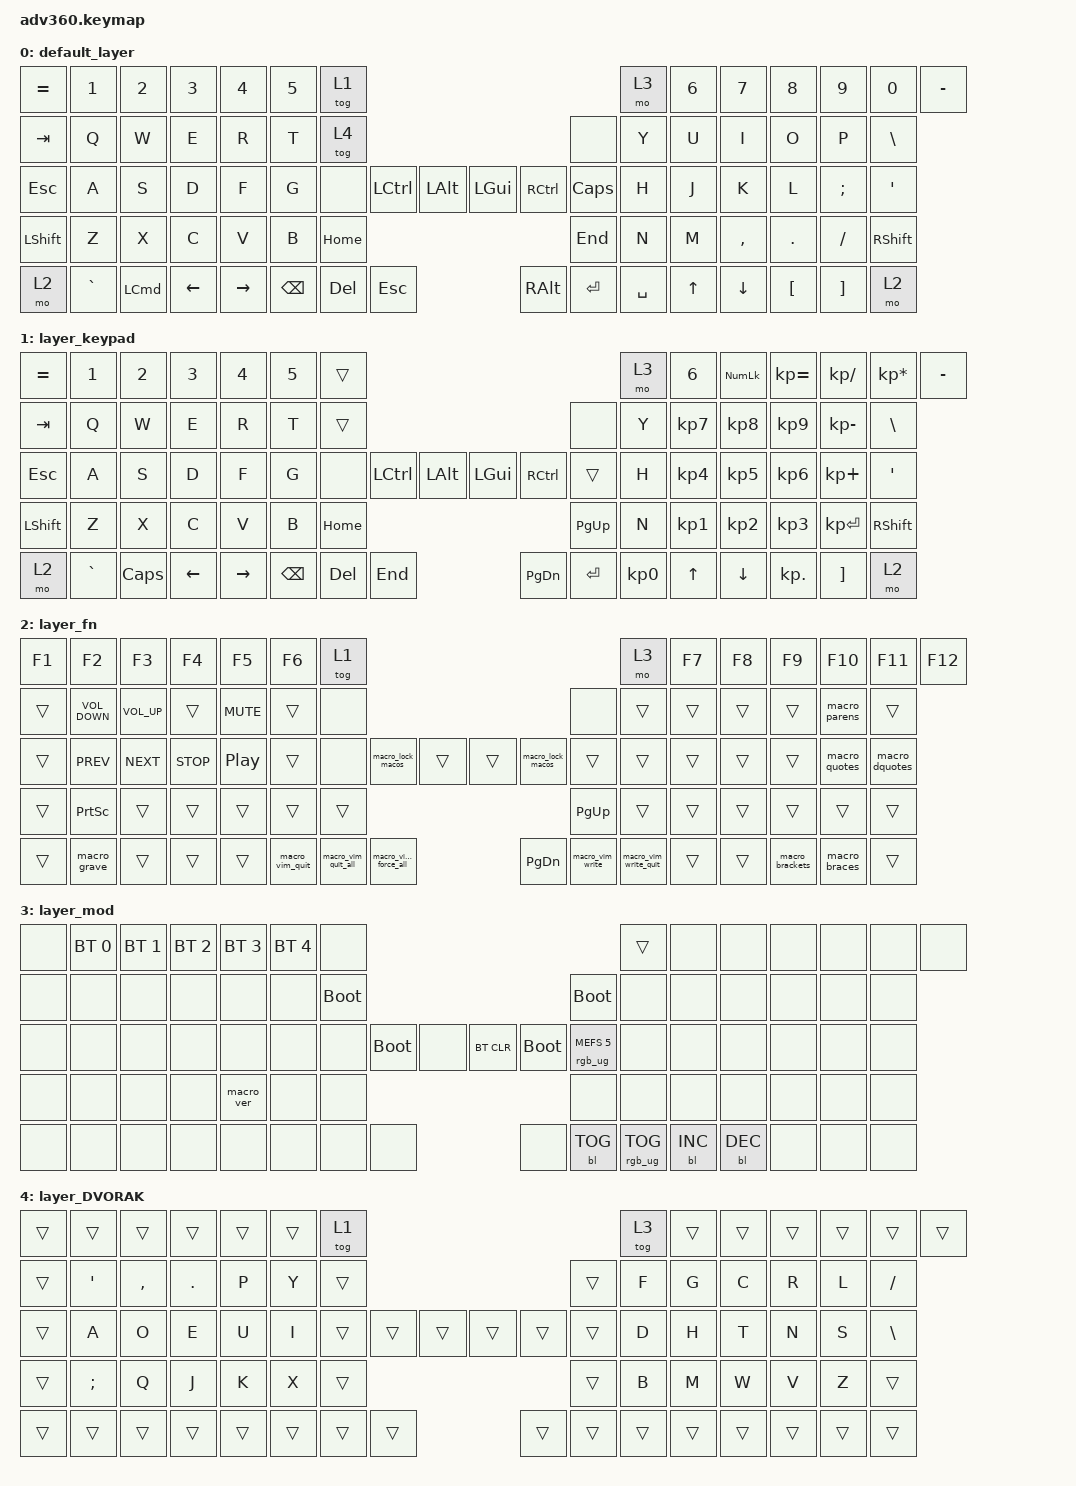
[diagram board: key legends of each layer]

/*
 * Copyright (c) 2020 The ZMK Contributors
 *
 * SPDX-License-Identifier: MIT
 */


/* THIS FILE WAS GENERATED!
 *
 * This file was generated automatically. You may or may not want to
 * edit it directly.
 */

#include <behaviors.dtsi>
#include <dt-bindings/zmk/keys.h>
#include <dt-bindings/zmk/bt.h>
#include <dt-bindings/zmk/rgb.h>
#include <dt-bindings/zmk/backlight.h>

/ {
  behaviors {
    #include "macros.dtsi"
    #include "version.dtsi"

    hm: homerow_mods {
        compatible = "zmk,behavior-hold-tap";
        label = "HOMEROW_MODS";
        #binding-cells = <2>;
        tapping-term-ms = <200>;
        quick_tap_ms = <175>;
        flavor = "tap-preferred";
        bindings = <&kp>, <&kp>;
    };
  };

    keymap {
        compatible = "zmk,keymap";


        default_layer {
            bindings = <
 &kp EQUAL     &kp N1            &kp N2    &kp N3     &kp N4  &kp N5              &tog 1                                                                        &mo 3  &kp N6  &kp N7     &kp N8    &kp N9    &kp N0  &kp MINUS
   &kp TAB      &kp Q             &kp W     &kp E      &kp R   &kp T              &tog 4                                                                        &none   &kp Y   &kp U      &kp I     &kp O     &kp P   &kp BSLH
   &kp ESC      &kp A             &kp S     &kp D      &kp F   &kp G               &none  &kp LCTRL  &kp LALT                       &kp LGUI  &kp RCTRL  &kp CAPSLOCK   &kp H   &kp J      &kp K     &kp L  &kp SEMI    &kp SQT
 &kp LSHFT      &kp Z             &kp X     &kp C      &kp V   &kp B                                 &kp HOME                        &kp END                            &kp N   &kp M  &kp COMMA   &kp DOT  &kp FSLH  &kp RSHFT
     &mo 2  &kp GRAVE  &kp LEFT_COMMAND  &kp LEFT  &kp RIGHT                    &kp BSPC    &kp DEL   &kp ESC                  &kp RIGHT_ALT  &kp ENTER     &kp SPACE          &kp UP   &kp DOWN  &kp LBKT  &kp RBKT      &mo 2
            >;
        };

        layer_keypad {
            bindings = <
 &kp EQUAL     &kp N1    &kp N2    &kp N3     &kp N4  &kp N5              &trans                                                                 &mo 3  &kp N6  &kp KP_NUM  &kp KP_EQUAL  &kp KP_DIVIDE  &kp KP_MULTIPLY  &kp MINUS
   &kp TAB      &kp Q     &kp W     &kp E      &kp R   &kp T              &trans                                                                 &none   &kp Y   &kp KP_N7     &kp KP_N8      &kp KP_N9     &kp KP_MINUS   &kp BSLH
   &kp ESC      &kp A     &kp S     &kp D      &kp F   &kp G               &none  &kp LCTRL  &kp LALT                   &kp LGUI  &kp RCTRL     &trans   &kp H   &kp KP_N4     &kp KP_N5      &kp KP_N6      &kp KP_PLUS    &kp SQT
 &kp LSHFT      &kp Z     &kp X     &kp C      &kp V   &kp B                                 &kp HOME                  &kp PG_UP                         &kp N   &kp KP_N1     &kp KP_N2      &kp KP_N3     &kp KP_ENTER  &kp RSHFT
     &mo 2  &kp GRAVE  &kp CAPS  &kp LEFT  &kp RIGHT                    &kp BSPC    &kp DEL   &kp END                  &kp PG_DN  &kp ENTER  &kp KP_N0              &kp UP      &kp DOWN     &kp KP_DOT         &kp RBKT      &mo 2
            >;
        };

        layer_fn {
            bindings = <
 &kp F1             &kp F2        &kp F3      &kp F4            &kp F5  &kp F6                     &tog 1                                                                                                                 &mo 3  &kp F7  &kp F8  &kp F9          &kp F10        &kp F11         &kp F12
 &trans  &kp C_VOLUME_DOWN  &kp C_VOL_UP      &trans        &kp C_MUTE  &trans                      &none                                                                                                                 &none  &trans  &trans  &trans           &trans  &macro_parens          &trans
 &trans         &kp C_PREV    &kp C_NEXT  &kp C_STOP  &kp C_PLAY_PAUSE  &trans                      &none    &macro_lock_macos                  &trans                         &trans  &macro_lock_macos                 &trans  &trans  &trans  &trans           &trans  &macro_quotes  &macro_dquotes
 &trans    &kp PRINTSCREEN        &trans      &trans            &trans  &trans                                                                  &trans                    &kp PAGE_UP                                            &trans  &trans  &trans           &trans         &trans          &trans
 &trans       &macro_grave        &trans      &trans            &trans                    &macro_vim_quit  &macro_vim_quit_all  &macro_vim_q_force_all                  &kp PAGE_DOWN   &macro_vim_write  &macro_vim_write_quit          &trans  &trans  &macro_brackets  &macro_braces          &trans
            >;
        };

        layer_mod {
            bindings = <
  &none  &bt BT_SEL 0  &bt BT_SEL 1  &bt BT_SEL 2  &bt BT_SEL 3  &bt BT_SEL 4                  &none                                                                                &trans   &none       &none       &none   &none   &none   &none
  &none         &none         &none         &none         &none         &none            &bootloader                                                                           &bootloader   &none       &none       &none   &none   &none   &none
  &none         &none         &none         &none         &none         &none                  &none  &bootloader   &none                  &bt BT_CLR  &bootloader  &rgb_ug RGB_MEFS_CMD 5   &none       &none       &none   &none   &none   &none
  &none         &none         &none         &none    &macro_ver         &none                                       &none                       &none                                        &none       &none       &none   &none   &none   &none
  &none         &none         &none         &none         &none                                &none        &none   &none                       &none   &bl BL_TOG         &rgb_ug RGB_TOG          &bl BL_INC  &bl BL_DEC   &none   &none   &none
            >;
        };

        layer_DVORAK {
            bindings = <
 &trans            &trans     &trans      &trans  &trans  &trans            &tog 1                                                  &tog 3  &trans  &trans  &trans  &trans  &trans         &trans
 &trans  &kp SINGLE_QUOTE  &kp COMMA  &kp PERIOD   &kp P   &kp Y            &trans                                                  &trans   &kp F   &kp G   &kp C   &kp R   &kp L      &kp SLASH
 &trans             &kp A      &kp O       &kp E   &kp U   &kp I            &trans  &trans  &trans                  &trans  &trans  &trans   &kp D   &kp H   &kp T   &kp N   &kp S  &kp BACKSLASH
 &trans     &kp SEMICOLON      &kp Q       &kp J   &kp K   &kp X                            &trans                  &trans                   &kp B   &kp M   &kp W   &kp V   &kp Z         &trans
 &trans            &trans     &trans      &trans  &trans                    &trans  &trans  &trans                  &trans  &trans  &trans          &trans  &trans  &trans  &trans         &trans
            >;
        };

    };
};
